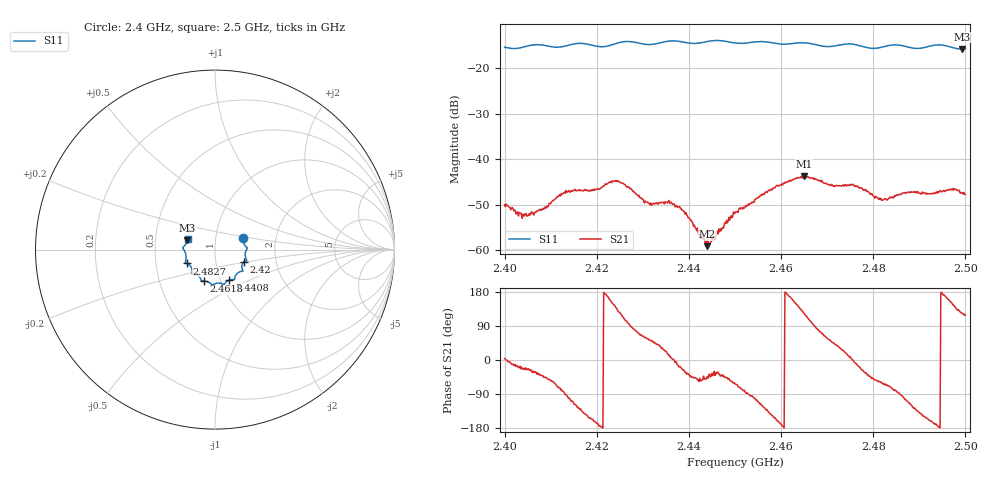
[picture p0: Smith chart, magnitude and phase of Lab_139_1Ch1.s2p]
# Hz S RI R
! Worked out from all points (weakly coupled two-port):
!   601 points, 2.4 GHz to 2.5 GHz, reference 50 ohm
!   highest |S21| = -43.82 dB at 2.465 GHz (marker M1); lowest = -59.2 dB at 2.444 GHz (marker M2)
!   lowest |S11| = -15.8 dB at 2.4993 GHz (marker M3), VSWR 1.39, Z = 36.5 + j3.84 ohm
!   |S11| at or under -10 dB: start of sweep to end of sweep
!   S12 and S22 are empty: the file has one direction only
!   S11 on the Smith chart (normalised r, x): 2.4 GHz: 1.36, +0.18; 2.42 GHz: 1.36, -0.20; 2.4408 GHz: 1.10, -0.39; 2.4618 GHz: 0.84, -0.30; 2.4827 GHz: 0.72, -0.12; 2.5 GHz: 0.73, +0.09
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2.4e9  0.158 0.0627  0.00314 0.00021  0 0  0 0
2.405167e9  0.1756 0.0133  0.0022 -0.000926  0 0  0 0
2.412833e9  0.1692 -0.038  0.000491 -0.00423  0 0  0 0
2.416667e9  0.1771 -0.0607  -0.00313 -0.00325  0 0  0 0
2.42e9  0.1593 -0.0701  -0.00453 -0.00101  0 0  0 0
2.424333e9  0.1526 -0.1093  -0.00407 0.00392  0 0  0 0
2.430667e9  0.1298 -0.1283  0.00173 0.00292  0 0  0 0
2.433333e9  0.1115 -0.151  0.00244 0.00207  0 0  0 0
2.437833e9  0.105 -0.1668  0.00284 -0.000943  0 0  0 0
2.440833e9  0.0801 -0.1692  0.00142 -0.0014  0 0  0 0
2.444e9  0.0556 -0.1881  0.000792 -0.000764  0 0  0 0
2.45e9  0.0284 -0.1871  0.00114 -0.00226  0 0  0 0
2.461833e9  -0.0596 -0.1753  -0.00568 0.00128  0 0  0 0
2.465e9  -0.0759 -0.1742  -0.00342 0.00546  0 0  0 0
2.466667e9  -0.0782 -0.1682  -0.000853 0.00608  0 0  0 0
2.471167e9  -0.106 -0.1378  0.00358 0.00369  0 0  0 0
2.476e9  -0.1271 -0.1305  0.00497 -0.000591  0 0  0 0
2.482667e9  -0.1561 -0.0773  0.00161 -0.00327  0 0  0 0
2.483333e9  -0.1604 -0.0753  0.00132 -0.00343  0 0  0 0
2.488e9  -0.1612 -0.0497  -0.00182 -0.00386  0 0  0 0
2.499333e9  -0.1538 0.0513  -0.00233 0.00358  0 0  0 0
2.5e9  -0.1522 0.0607  -0.00197 0.00357  0 0  0 0
